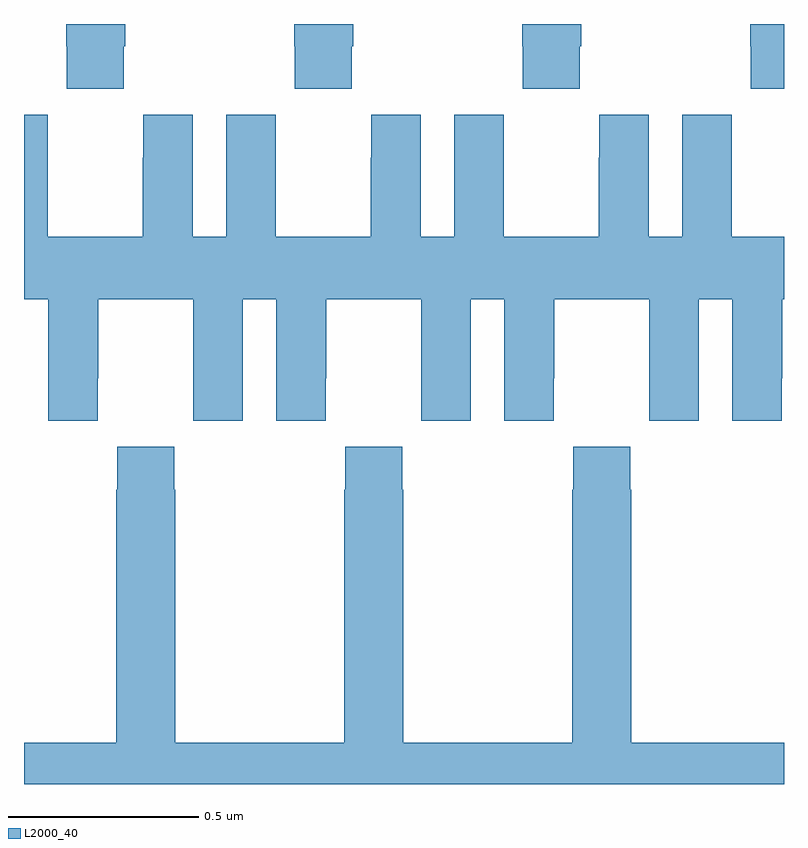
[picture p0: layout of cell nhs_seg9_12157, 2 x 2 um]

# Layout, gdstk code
import gdstk
lib = gdstk.Library(unit=1e-6, precision=1e-09)
def P(c, l, *ps):  # polygons
    for p in ps: c.add(gdstk.Polygon(p, *l))
L2000_40 = (2000, 40)

nhs_seg9_12157 = lib.new_cell('nhs_seg9_12157')
P(nhs_seg9_12157, L2000_40, [(265.863,1174.441),(265.866,1174.441),(265.866,1174.5),(265.711,1174.5),(265.711,1174.441),(265.713,1174.441),(265.713,1174.329),(265.863,1174.329)],
  [(266.463,1174.441),(266.466,1174.441),(266.466,1174.5),(266.311,1174.5),(266.311,1174.441),(266.313,1174.441),(266.313,1174.329),(266.463,1174.329)],
  [(267,1174.5),(266.911,1174.5),(266.911,1174.441),(266.913,1174.441),(266.913,1174.329),(267,1174.329)],
  [(265.263,1174.441),(265.266,1174.441),(265.266,1174.5),(265.111,1174.5),(265.111,1174.441),(265.113,1174.441),(265.113,1174.329),(265.263,1174.329)],
  [(265.663,1174.148),(265.662,1174.148),(265.662,1174.261),(265.532,1174.261),(265.532,1173.94),(265.444,1173.94),(265.444,1174.261),(265.314,1174.261),(265.314,1174.148),(265.313,1174.148),(265.313,1173.94),(265.063,1173.94),(265.063,1174.148),(265.062,1174.148),(265.062,1174.261),(265,1174.261),(265,1173.776),(265.064,1173.776),(265.064,1173.456),(265.194,1173.456),(265.194,1173.568),(265.195,1173.568),(265.195,1173.776),(265.445,1173.776),(265.445,1173.568),(265.446,1173.568),(265.446,1173.456),(265.576,1173.456),(265.576,1173.776),(265.664,1173.776),(265.664,1173.456),(265.794,1173.456),(265.794,1173.568),(265.795,1173.568),(265.795,1173.776),(266.045,1173.776),(266.045,1173.568),(266.046,1173.568),(266.046,1173.456),(266.176,1173.456),(266.176,1173.776),(266.264,1173.776),(266.264,1173.456),(266.394,1173.456),(266.394,1173.568),(266.395,1173.568),(266.395,1173.776),(266.645,1173.776),(266.645,1173.568),(266.646,1173.568),(266.646,1173.456),(266.776,1173.456),(266.776,1173.776),(266.864,1173.776),(266.864,1173.456),(266.994,1173.456),(266.994,1173.568),(266.995,1173.568),(266.995,1173.776),(267,1173.776),(267,1173.94),(266.863,1173.94),(266.863,1174.148),(266.862,1174.148),(266.862,1174.261),(266.732,1174.261),(266.732,1173.94),(266.644,1173.94),(266.644,1174.261),(266.514,1174.261),(266.514,1174.148),(266.513,1174.148),(266.513,1173.94),(266.263,1173.94),(266.263,1174.148),(266.262,1174.148),(266.262,1174.261),(266.132,1174.261),(266.132,1173.94),(266.044,1173.94),(266.044,1174.261),(265.914,1174.261),(265.914,1174.148),(265.913,1174.148),(265.913,1173.94),(265.663,1173.94)],
  [(265.845,1173.275),(265.843,1173.275),(265.843,1172.608),(265.398,1172.608),(265.398,1173.275),(265.395,1173.275),(265.395,1173.388),(265.245,1173.388),(265.245,1173.275),(265.243,1173.275),(265.243,1172.608),(265,1172.608),(265,1172.5),(267,1172.5),(267,1172.608),(266.598,1172.608),(266.598,1173.275),(266.595,1173.275),(266.595,1173.388),(266.445,1173.388),(266.445,1173.275),(266.443,1173.275),(266.443,1172.608),(265.998,1172.608),(265.998,1173.275),(265.995,1173.275),(265.995,1173.388),(265.845,1173.388)])

lib.write_gds('nhs_seg9_12157.gds')
